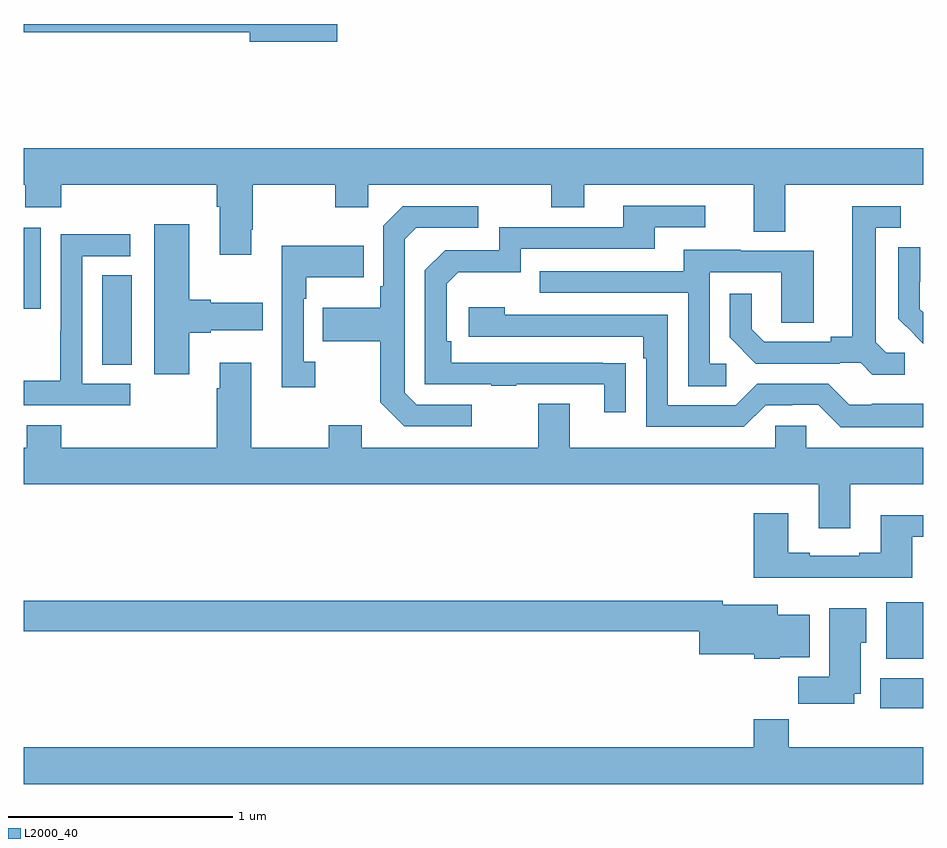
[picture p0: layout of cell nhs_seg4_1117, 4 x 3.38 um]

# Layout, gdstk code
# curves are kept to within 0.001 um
import gdstk
lib = gdstk.Library(unit=1e-6, precision=1e-09)
def R(c, l, rs):  # rectangles x0, y0, x1, y1
    for r in rs: c.add(gdstk.rectangle(r[:2], r[2:], *l))
def P(c, l, *ps):  # polygons
    for p in ps: c.add(gdstk.Polygon(p, *l))
L2000_40 = (2000, 40)

nhs_seg4_1117 = lib.new_cell('nhs_seg4_1117')
R(nhs_seg4_1117, L2000_40, [(172.808,763.856,173,763.99), (172.835,764.078,173,764.329), (169.349,765.385,169.48,765.782), (169,765.633,169.075,765.994)])
P(nhs_seg4_1117, L2000_40, [(170.395,766.9),(169,766.9),(169,766.864),(170.006,766.864),(170.006,766.822),(170.395,766.822)],
  [(170.011,765.985),(170.019,765.985),(170.019,766.184),(170.386,766.184),(170.386,766.085),(170.532,766.085),(170.532,766.184),(171.346,766.184),(171.346,766.085),(171.493,766.085),(171.493,766.184),(172.247,766.184),(172.247,765.976),(172.387,765.976),(172.387,766.184),(173,766.184),(173,766.348),(169,766.348),(169,766.184),(169.006,766.184),(169.006,766.085),(169.166,766.085),(169.166,766.184),(169.859,766.184),(169.859,766.088),(169.871,766.088),(169.871,765.873),(170.011,765.873)],
  [(171.677,765.392),(170.9,765.393),(170.9,765.49),(170.88,765.49),(170.88,765.744),(170.933,765.797),(171.21,765.797),(171.21,765.9),(171.805,765.9),(171.805,765.996),(172.03,765.996),(172.03,766.092),(171.665,766.092),(171.665,765.996),(171.114,765.996),(171.114,765.894),(170.874,765.894),(170.784,765.804),(170.784,765.297),(171.079,765.297),(171.079,765.292),(171.191,765.292),(171.191,765.297),(171.581,765.297),(171.581,765.174),(171.677,765.174)],
  [(170.992,765.207),(170.748,765.207),(170.694,765.261),(170.694,765.942),(170.745,765.993),(171.022,765.993),(171.022,766.089),(170.685,766.089),(170.598,766.002),(170.598,765.733),(170.586,765.733),(170.586,765.637),(170.329,765.637),(170.329,765.49),(170.586,765.49),(170.586,765.217),(170.691,765.111),(170.992,765.111)],
  [(172.918,765.438),(172.836,765.438),(172.789,765.485),(172.789,765.993),(172.9,765.993),(172.9,766.089),(172.685,766.089),(172.685,765.509),(172.589,765.509),(172.589,765.486),(172.294,765.486),(172.237,765.543),(172.237,765.7),(172.14,765.7),(172.14,765.506),(172.256,765.39),(172.628,765.39),(172.628,765.393),(172.722,765.393),(172.774,765.341),(172.918,765.341)],
  [(169.735,765.527),(169.831,765.527),(169.831,765.539),(170.062,765.539),(170.062,765.661),(169.831,765.661),(169.831,765.674),(169.735,765.674),(169.735,766.009),(169.58,766.009),(169.58,765.342),(169.735,765.342)],
  [(169.474,765.3),(169.26,765.3),(169.26,765.867),(169.474,765.867),(169.474,765.966),(169.164,765.966),(169.164,765.536),(169.162,765.536),(169.162,765.313),(169,765.313),(169,765.204),(169.474,765.204)],
  [(170.296,765.398),(170.244,765.398),(170.244,765.677),(170.257,765.677),(170.257,765.773),(170.513,765.773),(170.513,765.913),(170.148,765.913),(170.148,765.285),(170.296,765.285)],
  [(173,765.617),(172.985,765.632),(172.985,765.754),(172.986,765.754),(172.986,765.908),(172.89,765.908),(172.89,765.59),(172.963,765.517),(172.962,765.516),(173,765.478)],
  [(172.123,765.39),(172.05,765.39),(172.05,765.795),(172.368,765.795),(172.368,765.571),(172.513,765.571),(172.513,765.891),(172.189,765.891),(172.189,765.895),(171.935,765.895),(171.935,765.801),(171.295,765.801),(171.295,765.705),(171.954,765.705),(171.954,765.289),(172.123,765.289)],
  [(173,765.211),(172.771,765.211),(172.771,765.207),(172.671,765.207),(172.578,765.3),(172.263,765.3),(172.167,765.204),(171.864,765.204),(171.864,765.606),(171.14,765.606),(171.14,765.64),(170.979,765.64),(170.979,765.51),(171.755,765.51),(171.755,765.413),(171.768,765.413),(171.768,765.108),(172.203,765.108),(172.299,765.204),(172.418,765.204),(172.418,765.207),(172.533,765.207),(172.633,765.107),(173,765.107)],
  [(172.675,764.852),(173,764.852),(173,765.016),(172.479,765.016),(172.479,765.114),(172.341,765.114),(172.341,765.016),(171.427,765.016),(171.427,765.211),(171.287,765.211),(171.287,765.016),(170.503,765.016),(170.503,765.115),(170.356,765.115),(170.356,765.016),(170.011,765.016),(170.011,765.394),(169.871,765.394),(169.871,765.281),(169.859,765.281),(169.859,765.016),(169.166,765.016),(169.166,765.115),(169.013,765.115),(169.013,765.016),(169,765.016),(169,764.852),(172.535,764.852),(172.535,764.658),(172.675,764.658)],
  [(172.951,764.619),(173,764.619),(173,764.716),(172.811,764.716),(172.811,764.548),(172.715,764.548),(172.715,764.535),(172.495,764.535),(172.495,764.548),(172.399,764.548),(172.399,764.725),(172.247,764.725),(172.247,764.438),(172.951,764.438)],
  [(172.362,764.084),(172.495,764.084),(172.495,764.272),(172.354,764.272),(172.354,764.317),(172.108,764.317),(172.108,764.336),(169,764.336),(169,764.2),(172.004,764.2),(172.004,764.096),(172.248,764.096),(172.248,764.078),(172.362,764.078)],
  [(172.693,763.922),(172.723,763.922),(172.723,764.148),(172.747,764.148),(172.747,764.302),(172.583,764.302),(172.583,763.996),(172.444,763.996),(172.444,763.878),(172.693,763.878)],
  [(173,763.684),(172.403,763.684),(172.403,763.808),(172.247,763.808),(172.247,763.684),(169,763.684),(169,763.52),(173,763.52)])

lib.write_gds('nhs_seg4_1117.gds')
